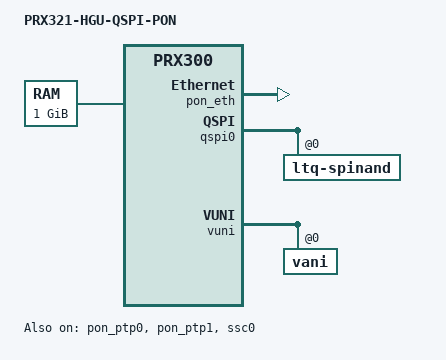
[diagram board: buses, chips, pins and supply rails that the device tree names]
/dts-v1/;
#include "prx321-sfu.dtsi"

/ {
	model = "PRX321-HGU-QSPI-PON";
	compatible = "intel,prx321-hgu-qspi-pon", "intel,prx321-sfu-qspi-pon", "intel,prx321-sfu", "intel,prx300";

	chosen {
		stdout-path = "serial0";
	};

	memory@0 {
		device_type = "memory";
		reg = <0x20000000 0x40000000>; /* 1024 MB */
	};
};

&pon_eth {
	status = "okay";
};

&pon_ptp0 {
	status = "okay";
};

&pon_ptp1 {
	status = "okay";
};

&ponmbox1 {
	status = "okay";
};

/* For voice enable the SPI driver needed for access to the on silicon VCODEC but prevent switching the pinmux to this SPI bus. On this design these pins are used for the QSPI bus. */
&ssc0 {
	status = "okay";
	/delete-property/ pinctrl-names;
	/delete-property/ pinctrl-0;
};

&qspi0 {
	status = "okay";
	ltq-spinand@0 {
		status = "okay";
	};
};

/* use CPU3 for MPE firmware */
&cpu3 {
	default-OS = "MPEFW";
};

&gsw_core {
	intel,gsw-globalpce-rules = <256>;
};
&cqm {
	DQ3: cpu-port3 {
		intel,deq-port = <3 4>;
	};
};

&vuni {
	status = "okay";
	vani@0 {
		intel,extra-subif = <0>;
	};
};
